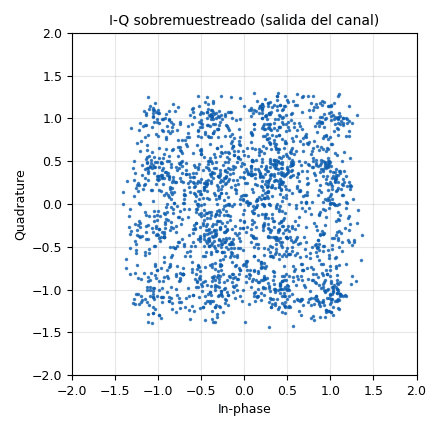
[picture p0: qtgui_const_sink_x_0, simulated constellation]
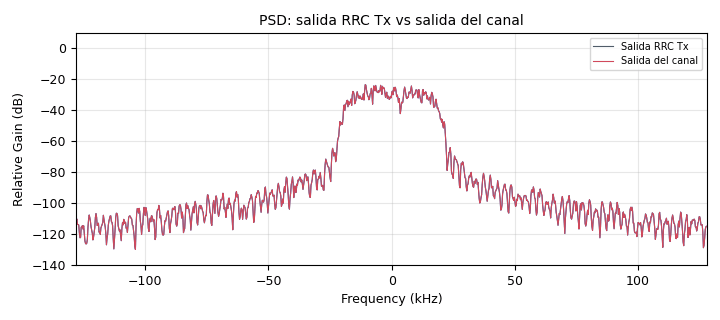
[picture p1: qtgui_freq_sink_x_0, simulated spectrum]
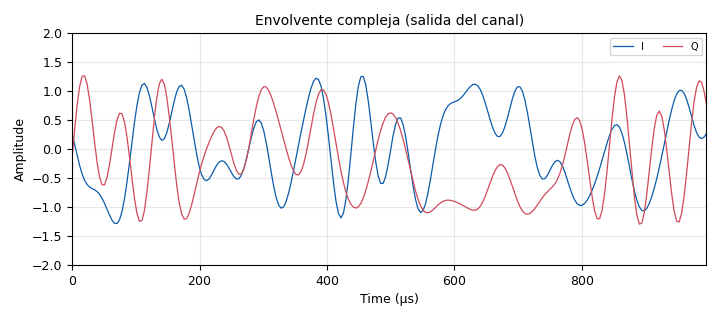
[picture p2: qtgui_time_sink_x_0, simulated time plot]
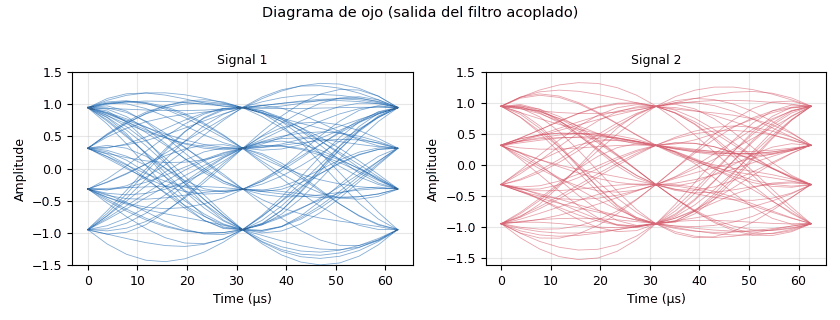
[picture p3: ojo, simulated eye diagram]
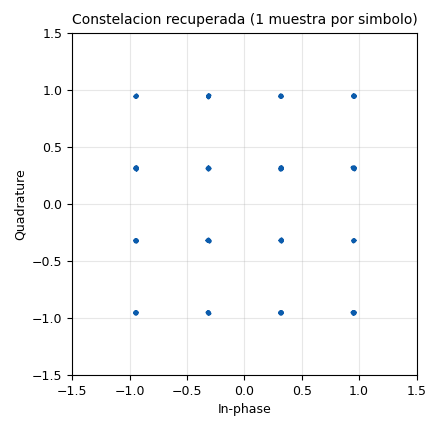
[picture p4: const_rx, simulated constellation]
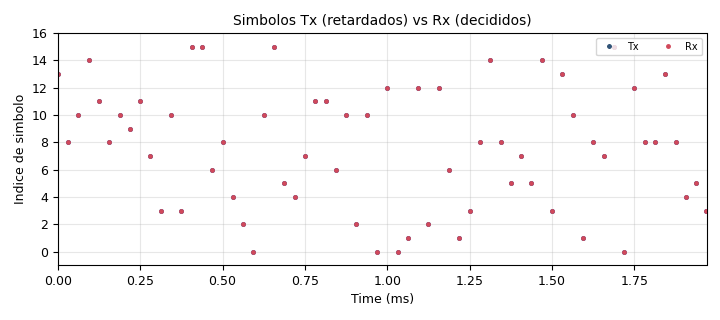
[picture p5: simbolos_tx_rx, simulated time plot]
options:
  parameters:
    comment: 'Fase 2: transmisor con conformacion RRC, canal AWGN y receptor (filtro acoplado, ojo, muestreo y decision)'
    description: 'Fase 2: transmisor con conformacion RRC, canal AWGN y receptor (filtro acoplado, ojo, muestreo y decision)'
    generate_options: qt_gui
    id: S4_16QAM_TxRx_RRC_Grupo2
    output_language: python
    title: S4 16QAM Tx-Canal-Rx con RRC - Grupo 2 (Fase 2)
  states: {}

blocks:
- name: M
  id: variable
  parameters:
    value: len(tabla_de_verdad_constelacion)
  states: {}
- name: Rb
  id: variable
  parameters:
    value: Rs*bps
  states: {}
- name: Rs
  id: variable
  parameters:
    value: '32000'
  states: {}
- name: Sps
  id: variable
  parameters:
    value: '8'
  states: {}
- name: bps
  id: variable
  parameters:
    value: int(math.log(M,2))
  states: {}
- name: noise_amp
  id: variable_qtgui_range
  parameters:
    label: Amplitud de ruido AWGN
    start: '0'
    step: '0.01'
    stop: '1.0'
    value: '0'
  states: {}
- name: samp_rate
  id: variable
  parameters:
    value: Rs*Sps
  states: {}
- name: tabla_de_verdad_constelacion
  id: variable
  parameters:
    comment: 16QAM Gray, potencia promedio unitaria (dividido entre raiz de 10)
    value: ((-3-3j)/math.sqrt(10), (-3-1j)/math.sqrt(10), (-3+3j)/math.sqrt(10), (-3+1j)/math.sqrt(10), (-1-3j)/math.sqrt(10), (-1-1j)/math.sqrt(10), (-1+3j)/math.sqrt(10), (-1+1j)/math.sqrt(10), (3-3j)/math.sqrt(10), (3-1j)/math.sqrt(10), (3+3j)/math.sqrt(10), (3+1j)/math.sqrt(10), (1-3j)/math.sqrt(10), (1-1j)/math.sqrt(10), (1+3j)/math.sqrt(10), (1+1j)/math.sqrt(10))
  states: {}
- name: analog_noise_source_x_0
  id: analog_noise_source_x
  parameters:
    amp: noise_amp
    noise_type: analog.GR_GAUSSIAN
    seed: '0'
    type: complex
  states: {}
- name: analog_random_source_x_0
  id: analog_random_source_x
  parameters:
    max: '2'
    min: '0'
    num_samps: '1000'
    repeat: 'True'
    type: byte
  states: {}
- name: blocks_add_xx_0
  id: blocks_add_xx
  parameters:
    type: complex
  states: {}
- name: blocks_pack_k_bits_bb_0
  id: blocks_pack_k_bits_bb
  parameters:
    k: '8'
  states: {}
- name: blocks_packed_to_unpacked_xx_0
  id: blocks_packed_to_unpacked_xx
  parameters:
    bits_per_chunk: bps
    endianness: gr.GR_MSB_FIRST
    type: byte
  states: {}
- name: digital_chunks_to_symbols_xx_0
  id: digital_chunks_to_symbols_xx
  parameters:
    dimension: '1'
    in_type: byte
    out_type: complex
    symbol_table: tabla_de_verdad_constelacion
  states: {}
- name: import_0
  id: import
  parameters:
    imports: import math
  states: {}
- name: interp_fir_filter_xxx_0
  id: interp_fir_filter_xxx
  parameters:
    comment: RRC de transmision (beta, span)
    interp: Sps
    taps: h_tx
    type: ccf
  states: {}
- name: qtgui_const_sink_x_0
  id: qtgui_const_sink_x
  parameters:
    grid: 'True'
    label1: '"Señal ruidosa"'
    legend: 'False'
    name: '"I-Q sobremuestreado (salida del canal)"'
    size: '2048'
    type: complex
  states: {}
- name: qtgui_freq_sink_x_0
  id: qtgui_freq_sink_x
  parameters:
    average: '0.1'
    bw: samp_rate
    fc: '0'
    fftsize: '1024'
    grid: 'True'
    label1: Salida RRC Tx
    label2: Salida del canal
    name: '"PSD: salida RRC Tx vs salida del canal"'
    nconnections: '2'
    type: complex
  states: {}
- name: qtgui_time_sink_x_0
  id: qtgui_time_sink_x
  parameters:
    grid: 'True'
    label1: I
    label2: Q
    name: '"Envolvente compleja (salida del canal)"'
    size: '256'
    srate: samp_rate
    type: complex
    ymax: '2'
    ymin: '-2'
  states: {}
- name: throttle_0
  id: blocks_throttle2
  parameters:
    samples_per_second: samp_rate
    type: complex
  states: {}
- name: beta
  id: variable_qtgui_range
  parameters:
    comment: Roll-off del RRC
    label: Roll-off del RRC (beta)
    start: '0.1'
    step: '0.05'
    stop: '1.0'
    value: '0.35'
  states: {}
- name: span
  id: variable
  parameters:
    comment: Longitud del RRC en simbolos
    value: '11'
  states: {}
- name: ntaps
  id: variable
  parameters:
    value: span*Sps+1
  states: {}
- name: rrc_base
  id: variable
  parameters:
    value: firdes.root_raised_cosine(1.0, samp_rate, Rs, beta, ntaps)
  states: {}
- name: h_tx
  id: variable
  parameters:
    comment: 'RRC Tx: energia Sps (misma potencia que el pulso rectangular)'
    value: (numpy.array(rrc_base)*math.sqrt(Sps)/numpy.linalg.norm(rrc_base)).tolist()
  states: {}
- name: h_rx
  id: variable
  parameters:
    comment: 'RRC Rx (filtro acoplado): sum(h_tx*h_rx)=1'
    value: (numpy.array(rrc_base)/(math.sqrt(Sps)*numpy.linalg.norm(rrc_base))).tolist()
  states: {}
- name: const_obj
  id: variable
  parameters:
    comment: Constelacion de decision (misma tabla, sin normalizar de nuevo)
    value: digital.constellation_calcdist(list(tabla_de_verdad_constelacion), list(range(M)), 4, 1, digital.constellation.NO_NORMALIZATION).base()
  states: {}
- name: fase_muestreo
  id: variable_qtgui_range
  parameters:
    label: Fase de muestreo (muestra dentro del simbolo)
    rangeType: int
    start: '0'
    step: '1'
    stop: Sps-1
    value: '0'
  states: {}
- name: retardo_simbolos
  id: variable_qtgui_range
  parameters:
    label: Retardo de alineacion Tx-Rx (simbolos)
    rangeType: int
    start: '0'
    step: '1'
    stop: '30'
    value: '11'
  states: {}
- name: import_numpy
  id: import
  parameters:
    imports: import numpy
  states: {}
- name: import_firdes
  id: import
  parameters:
    imports: from gnuradio.filter import firdes
  states: {}
- name: import_digital
  id: import
  parameters:
    imports: from gnuradio import digital
  states: {}
- name: rx_rrc
  id: fir_filter_xxx
  parameters:
    comment: Filtro acoplado RRC (Rx)
    decim: '1'
    taps: h_rx
    type: ccf
  states: {}
- name: ojo
  id: qtgui_eye_sink_x
  parameters:
    grid: 'True'
    name: '"Diagrama de ojo (salida del filtro acoplado)"'
    samp_per_symbol: Sps
    size: '1024'
    srate: samp_rate
    tr_slope: qtgui.TRIG_MODE_POS
    type: complex
    ymax: '1.5'
    ymin: '-1.5'
  states: {}
- name: muestreo
  id: blocks_keep_m_in_n
  parameters:
    comment: 1 muestra por simbolo
    m: '1'
    n: Sps
    offset: fase_muestreo
    type: complex
  states: {}
- name: const_rx
  id: qtgui_const_sink_x
  parameters:
    grid: 'True'
    name: '"Constelacion recuperada (1 muestra por simbolo)"'
    size: '1024'
    tr_slope: qtgui.TRIG_MODE_POS
    type: complex
    xmax: '1.5'
    xmin: '-1.5'
    ymax: '1.5'
    ymin: '-1.5'
  states: {}
- name: decisor
  id: digital_constellation_decoder_cb
  parameters:
    comment: Decision por minima distancia
    constellation: const_obj
  states: {}
- name: rx_sym_f
  id: blocks_char_to_float
  parameters:
    scale: '1'
  states: {}
- name: tx_sym_f
  id: blocks_char_to_float
  parameters:
    scale: '1'
  states: {}
- name: alinear_tx
  id: blocks_delay
  parameters:
    comment: Compensa el retardo de los dos RRC
    delay: retardo_simbolos
    type: float
  states: {}
- name: simbolos_tx_rx
  id: qtgui_time_sink_x
  parameters:
    grid: 'True'
    label1: Tx
    label2: Rx
    marker1: '0'
    marker2: '8'
    name: '"Simbolos Tx (retardados) vs Rx (decididos)"'
    nconnections: '2'
    size: '64'
    srate: Rs
    style1: '0'
    style2: '0'
    tr_slope: qtgui.TRIG_MODE_POS
    type: float
    ylabel: Indice de simbolo
    ymax: M
  states: {}
- name: resta
  id: blocks_sub_xx
  parameters:
    type: float
  states: {}
- name: valor_abs
  id: blocks_abs_xx
  parameters:
    type: float
  states: {}
- name: es_error
  id: blocks_threshold_ff
  parameters:
    comment: 1 si el simbolo es distinto
    high: '0.6'
    init: '0'
    low: '0.4'
  states: {}
- name: promedio
  id: blocks_moving_average_xx
  parameters:
    length: '10000'
    max_iter: '4000'
    scale: 1/10000
    type: float
  states: {}
- name: ser
  id: qtgui_number_sink
  parameters:
    graph_type: qtgui.NUM_GRAPH_HORIZ
    label1: SER
    min: '0'
    name: '"Tasa de error de simbolo (SER) estimada"'
    type: float
  states: {}

connections:
- [analog_noise_source_x_0, '0', blocks_add_xx_0, '1']
- [analog_random_source_x_0, '0', blocks_pack_k_bits_bb_0, '0']
- [blocks_add_xx_0, '0', qtgui_const_sink_x_0, '0']
- [blocks_add_xx_0, '0', qtgui_time_sink_x_0, '0']
- [blocks_pack_k_bits_bb_0, '0', blocks_packed_to_unpacked_xx_0, '0']
- [blocks_packed_to_unpacked_xx_0, '0', digital_chunks_to_symbols_xx_0, '0']
- [digital_chunks_to_symbols_xx_0, '0', interp_fir_filter_xxx_0, '0']
- [interp_fir_filter_xxx_0, '0', throttle_0, '0']
- [throttle_0, '0', blocks_add_xx_0, '0']
- [throttle_0, '0', qtgui_freq_sink_x_0, '0']
- [blocks_add_xx_0, '0', qtgui_freq_sink_x_0, '1']
- [blocks_add_xx_0, '0', rx_rrc, '0']
- [rx_rrc, '0', ojo, '0']
- [rx_rrc, '0', muestreo, '0']
- [muestreo, '0', const_rx, '0']
- [muestreo, '0', decisor, '0']
- [decisor, '0', rx_sym_f, '0']
- [blocks_packed_to_unpacked_xx_0, '0', tx_sym_f, '0']
- [tx_sym_f, '0', alinear_tx, '0']
- [alinear_tx, '0', simbolos_tx_rx, '0']
- [rx_sym_f, '0', simbolos_tx_rx, '1']
- [alinear_tx, '0', resta, '0']
- [rx_sym_f, '0', resta, '1']
- [resta, '0', valor_abs, '0']
- [valor_abs, '0', es_error, '0']
- [es_error, '0', promedio, '0']
- [promedio, '0', ser, '0']

metadata:
  file_format: 1
  grc_version: 3.10.12.0
